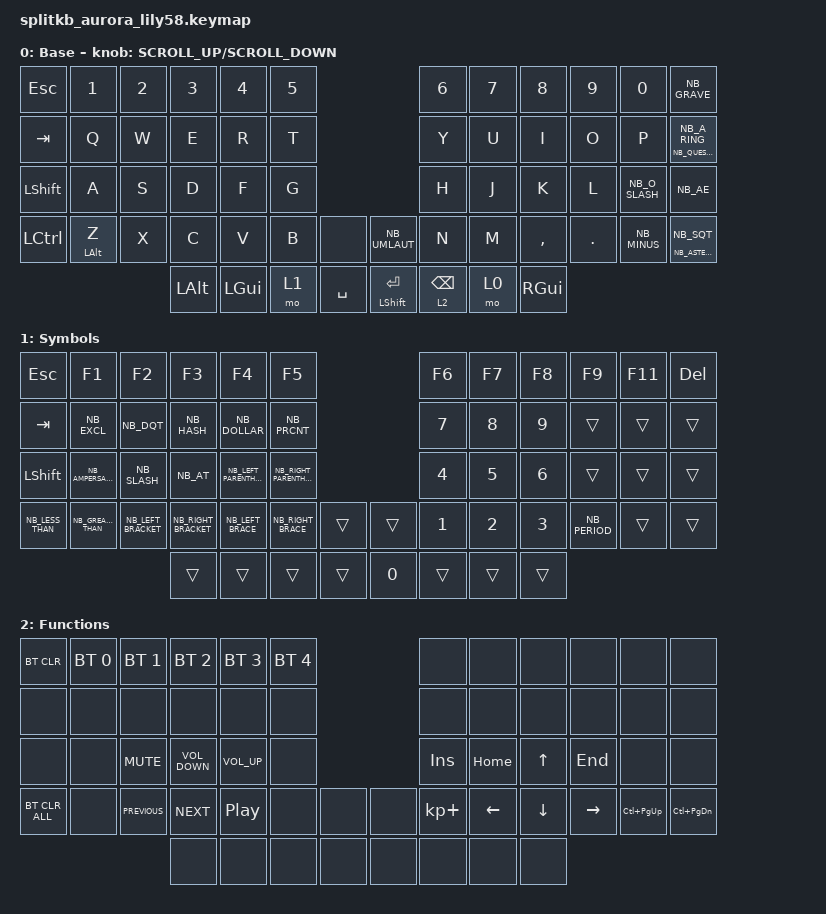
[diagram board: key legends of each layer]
/*
 * Copyright (c) 2022 The ZMK Contributors
 *
 * SPDX-License-Identifier: MIT
 */

#include "keys_nb.h"
#include <behaviors.dtsi>
#include <dt-bindings/zmk/bt.h>
#include <dt-bindings/zmk/keys.h>

/ {
    behaviors {
        Hold_Tap_Layer_KP: Hold_Tap_Layer_KP {
            compatible = "zmk,behavior-hold-tap";
            label = "HOLD_TAP_LAYER_KP";
            bindings = <&mo>, <&kp>;

            #binding-cells = <2>;
            tapping-term-ms = <150>;
            flavor = "balanced";
        };

        Hold_Tap_KP_KP: Hold_Tap_KP_KP {
            compatible = "zmk,behavior-hold-tap";
            label = "HOLD_TAP_KP_KP";
            bindings = <&kp>, <&kp>;

            #binding-cells = <2>;
            tapping-term-ms = <150>;
            flavor = "balanced";
        };
    };

    keymap {
        compatible = "zmk,keymap";

        Base {
            // ------------------------------------------------------------------------------------------------------------
            // |  ESC  |  1  |  2  |  3   |  4   |  5   |                   |  6   |  7    |  8    |  9   |   0   |   `   |
            // |  TAB  |  Q  |  W  |  E   |  R   |  T   |                   |  Y   |  U    |  I    |  O   |   P   |   -   |
            // |  CTRL |  A  |  S  |  D   |  F   |  G   |                   |  H   |  J    |  K    |  L   |   ;   |   '   |
            // | SHIFT |  Z  |  X  |  C   |  V   |  B   |   "["  |  |  "]"  |  N   |  M    |  ,    |  .   |   /   | SHIFT |
            //                     | ALT  | GUI  | LOWER|  SPACE |  | ENTER | RAISE| BSPC  | GUI   |

            bindings = <
&kp ESC           &kp N1                      &kp N2  &kp N3    &kp N4    &kp N5                                                 &kp N6                          &kp N7  &kp N8     &kp N9   &kp N0          &kp NB_GRAVE
&kp TAB           &kp Q                       &kp W   &kp E     &kp R     &kp T                                                  &kp Y                           &kp U   &kp I      &kp O    &kp P           &Hold_Tap_KP_KP NB_QUESTION NB_A_RING
&kp LEFT_SHIFT    &kp A                       &kp S   &kp D     &kp F     &kp G                                                  &kp H                           &kp J   &kp K      &kp L    &kp NB_O_SLASH  &kp NB_AE
&kp LEFT_CONTROL  &Hold_Tap_KP_KP LEFT_ALT Z  &kp X   &kp C     &kp V     &kp B   &none        &kp NB_UMLAUT                     &kp N                           &kp M   &kp COMMA  &kp DOT  &kp NB_MINUS    &Hold_Tap_KP_KP NB_ASTERISK NB_SQT
                                                      &kp LALT  &kp LGUI  &mo 1   &kp SPACE    &Hold_Tap_KP_KP LEFT_SHIFT ENTER  &Hold_Tap_Layer_KP 2 BACKSPACE  &mo 0   &kp RGUI
            >;

            sensor-bindings = <&inc_dec_kp K_SCROLL_UP K_SCROLL_DOWN>;
        };

        Symbols {
            // ------------------------------------------------------------------------------------------------------------
            // | BTCLR | BT1 | BT2 |  BT3 |  BT4 |  BT5 |                   |      |       |       |      |       |       |
            // |  F1   |  F2 |  F3 |  F4  |  F5  |  F6  |                   |  F7  |  F8   |  F9   |  F10 |  F11  |  F12  |
            // |   `   |  !  |  @  |  #   |  $   |  %   |                   |  ^   |  &    |  *    |  (   |   )   |   ~   |
            // |       |     |     |      |      |      |        |  |       |      |  _    |  +    |  {   |   }   |  "|"  |
            //                     |      |      |      |        |  |       |      |       |       |

            bindings = <
&kp ESC           &kp F1               &kp F2               &kp F3                &kp F4                   &kp F5                                      &kp F6  &kp F7  &kp F8  &kp F9         &kp F11  &kp DEL
&kp TAB           &kp NB_EXCL          &kp NB_DQT           &kp NB_HASH           &kp NB_DOLLAR            &kp NB_PRCNT                                &kp N7  &kp N8  &kp N9  &trans         &trans   &trans
&kp LSHFT         &kp NB_AMPERSAND     &kp NB_SLASH         &kp NB_AT             &kp NB_LEFT_PARENTHESIS  &kp NB_RIGHT_PARENTHESIS                    &kp N4  &kp N5  &kp N6  &trans         &trans   &trans
&kp NB_LESS_THAN  &kp NB_GREATER_THAN  &kp NB_LEFT_BRACKET  &kp NB_RIGHT_BRACKET  &kp NB_LEFT_BRACE        &kp NB_RIGHT_BRACE        &trans    &trans  &kp N1  &kp N2  &kp N3  &kp NB_PERIOD  &trans   &trans
                                                            &trans                &trans                   &trans                    &trans    &kp N0  &trans  &trans  &trans
            >;
        };

        Functions {
            // ------------------------------------------------------------------------------------------------------------
            // |       |     |     |      |      |      |                   |      |       |       |      |       |       |
            // |   `   |  1  |  2  |  3   |  4   |  5   |                   |  6   |   7   |   8   |  9   |   0   |       |
            // |   F1  |  F2 |  F3 |  F4  |  F5  |  F6  |                   |      |   <-  |   v   |  ^   |  ->   |       |
            // |   F7  |  F8 |  F9 |  F10 |  F11 |  F12 |        |  |       |  +   |   -   |   =   |  [   |   ]   |   \   |
            //                     |      |      |      |        |  |       |      |       |       |

            bindings = <
&bt BT_CLR      &bt BT_SEL 0  &bt BT_SEL 1    &bt BT_SEL 2       &bt BT_SEL 3      &bt BT_SEL 4                  &none        &none           &none     &none      &none            &none
&none           &none         &none           &none              &none             &none                         &none        &none           &none     &none      &none            &none
&none           &none         &kp C_MUTE      &kp C_VOLUME_DOWN  &kp C_VOLUME_UP   &none                         &kp INS      &kp HOME        &kp UP    &kp END    &none            &none
&bt BT_CLR_ALL  &none         &kp C_PREVIOUS  &kp C_NEXT         &kp C_PLAY_PAUSE  &none         &none    &none  &kp KP_PLUS  &kp LEFT_ARROW  &kp DOWN  &kp RIGHT  &kp LC(PAGE_UP)  &kp LC(PAGE_DOWN)
                                              &none              &none             &none         &none    &none  &none        &none           &none
            >;
        };
    };
};
